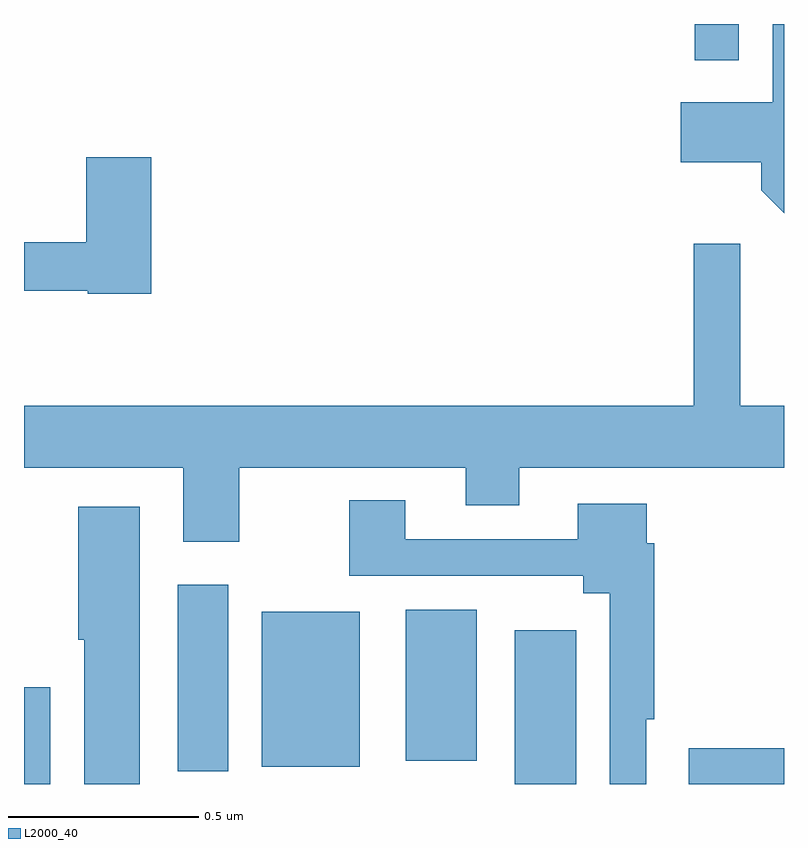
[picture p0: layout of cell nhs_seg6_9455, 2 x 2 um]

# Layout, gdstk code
import gdstk
lib = gdstk.Library(unit=1e-6, precision=1e-09)
def R(c, l, rs):  # rectangles x0, y0, x1, y1
    for r in rs: c.add(gdstk.rectangle(r[:2], r[2:], *l))
def P(c, l, *ps):  # polygons
    for p in ps: c.add(gdstk.Polygon(p, *l))
L2000_40 = (2000, 40)

nhs_seg6_9455 = lib.new_cell('nhs_seg6_9455')
R(nhs_seg6_9455, L2000_40, [(234,950.5,234.069,950.755), (235.292,950.5,235.453,950.905), (235.749,950.5,236,950.594), (234.404,950.533,234.538,951.025), (234.626,950.546,234.883,950.953), (235.004,950.561,235.192,950.959), (235.765,952.404,235.881,952.5)])
P(nhs_seg6_9455, L2000_40, [(236,952.5),(235.97,952.5),(235.97,952.294),(235.728,952.294),(235.728,952.136),(235.94,952.136),(235.94,952.062),(236,952.002)],
  [(234.335,952.15),(234.164,952.15),(234.164,951.926),(234,951.926),(234,951.798),(234.168,951.798),(234.168,951.79),(234.335,951.79)],
  [(234.567,951.332),(235.163,951.332),(235.163,951.233),(235.303,951.233),(235.303,951.332),(236,951.332),(236,951.496),(235.885,951.496),(235.885,951.922),(235.763,951.922),(235.763,951.496),(234,951.496),(234,951.332),(234.419,951.332),(234.419,951.138),(234.567,951.138)],
  [(235.638,950.671),(235.658,950.671),(235.658,951.134),(235.639,951.134),(235.639,951.238),(235.457,951.238),(235.457,951.144),(235.003,951.144),(235.003,951.247),(234.856,951.247),(234.856,951.048),(235.472,951.048),(235.472,951.002),(235.542,951.002),(235.542,950.5),(235.638,950.5)],
  [(234.304,951.229),(234.143,951.229),(234.143,950.88),(234.158,950.88),(234.158,950.5),(234.304,950.5)])

lib.write_gds('nhs_seg6_9455.gds')
